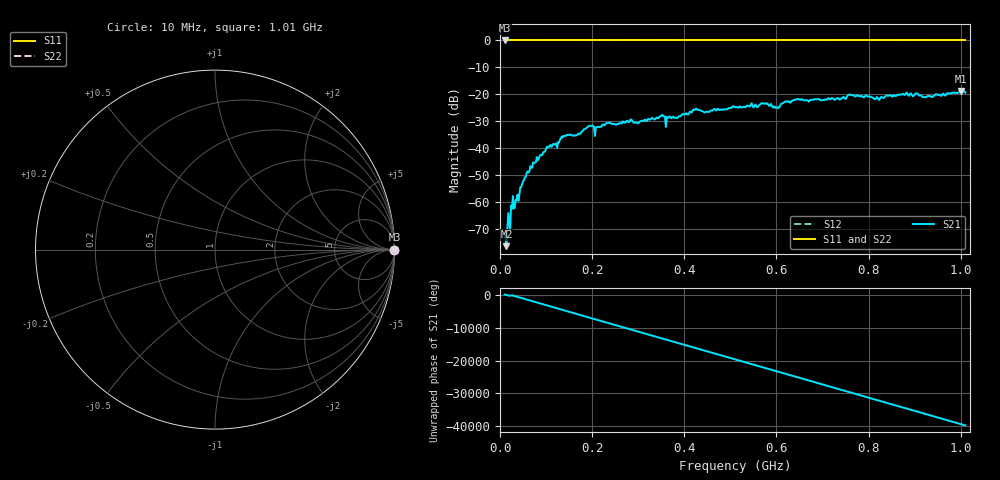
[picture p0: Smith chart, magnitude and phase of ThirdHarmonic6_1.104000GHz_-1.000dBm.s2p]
! 8/16/2025 10:25:42 AM
! C:\ANRITSUVNA\TEMP\TEMP.S2P
! CHANNEL.1
! TR.MEASUREMENT
! RAW.DATA
! RF.CORRECTION.OFF
! AVERAGING.OFF
! IF.BANDWIDTH: 5KHZ
! SWEEPTYPE:  FREQ.SWEEP(Linear)
! Reference Plane Port Info
! PORT:  PORT1  PORT2
! DISTANCE:  0  m  0  m
! TIME:  0  s  0  s
! PHASE.OFFSET:  0  deg.  0  deg.
! LOSS:  0  dB  0  dB
! REF.LOSS:  0  dB  0  dB
! REF.FREQ:  0  Hz  0  Hz
! Power Info
! POWER:  -20  dBm  -20  dBm
! EFF.POWER:  -20  dBm  -20  dBm
! SOURCE.ATTEN:  0  dB  0  dB
! TEST.ATTEN:  0  dB  0  dB
# GHZ S RI R 50.0
! FREQ.GHZ  S11RE  S11IM  S21RE  S21IM  S12RE  S12IM  S22RE  S22IM
!; PortSelection: Port_12
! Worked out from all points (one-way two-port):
!   501 points, 10 MHz to 1.01 GHz, reference 50 ohm
!   highest |S21| = -18.79 dB at 1 GHz (marker M1); lowest = -76.6 dB at 14 MHz (marker M2)
!   lowest |S11| = 0.0 dB at 10 MHz (marker M3)
!   |S11| at or under -10 dB: nowhere
!   |S22| runs from 0.0 to 0.0 dB; largest |S21 - S12| = 1.1
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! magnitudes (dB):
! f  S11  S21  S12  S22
! 10 MHz  0.0  -73.2  0.0  0.0
! 14 MHz  0.0  -76.6  0.0  0.0
! 18 MHz  0.0  -64.2  0.0  0.0
! 20 MHz  0.0  -67.8  0.0  0.0
! 28 MHz  0.0  -57.9  0.0  0.0
! 36 MHz  0.0  -59.5  0.0  0.0
! 56 MHz  0.0  -50.8  0.0  0.0
! 76 MHz  0.0  -45.5  0.0  0.0
! 136 MHz  0.0  -36.2  0.0  0.0
! 178 MHz  0.0  -34.0  0.0  0.0
! 196 MHz  0.0  -31.8  0.0  0.0
! 210 MHz  0.0  -32.2  0.0  0.0
! 234 MHz  0.0  -30.8  0.0  0.0
! 344 MHz  0.0  -29.0  0.0  0.0
! 510 MHz  0.0  -24.9  0.0  0.0
! 572 MHz  0.0  -23.5  0.0  0.0
! 602 MHz  0.0  -24.9  0.0  0.0
! 622 MHz  0.0  -22.8  0.0  0.0
! 678 MHz  0.0  -22.1  0.0  0.0
! 844 MHz  0.0  -20.6  0.0  0.0
! 1 GHz  0.0  -18.8  0.0  0.0
! 1.01 GHz  0.0  -19.4  0.0  0.0
